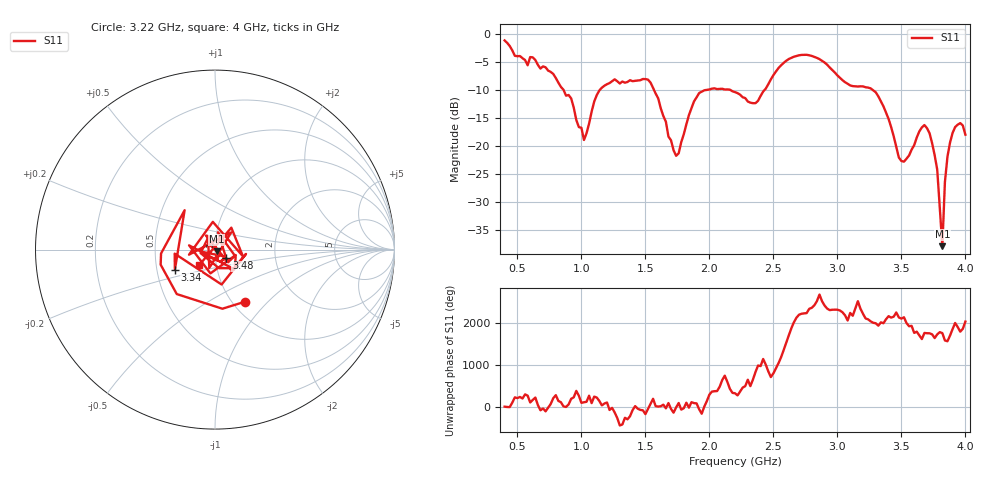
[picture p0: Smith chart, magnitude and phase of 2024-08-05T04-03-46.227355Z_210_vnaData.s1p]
!Created with skrf (http://scikit-rf.org).
# Hz S RI R 50.0
!freq ReS11 ImS11
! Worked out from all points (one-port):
!   181 points, 400 MHz to 4 GHz, reference 50 ohm
!   lowest |S11| = -37.9 dB at 3.82 GHz (marker M1), VSWR 1.03, Z = 50.8 - j0.981 ohm
!   |S11| at or under -10 dB: 860.7 MHz to 1.144 GHz (282.8 MHz wide, 28.2 % of centre); 1.567 GHz to 1.976 GHz (408.8 MHz wide, 23.1 % of centre); 3.277 GHz to end of sweep (the widest 3 of 4)
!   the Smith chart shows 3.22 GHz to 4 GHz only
!   S11 on the Smith chart (normalised r, x): 3.22 GHz: 1.14, -0.74; 3.34 GHz: 0.62, -0.15; 3.48 GHz: 1.13, -0.11; 4 GHz: 0.82, -0.15
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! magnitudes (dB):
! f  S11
! 400 MHz  -1.2
! 860 MHz  -10.0
! 920 MHz  -11.5
! 1.02 GHz  -18.9
! 1.14 GHz  -10.1
! 1.3 GHz  -8.8
! 1.54 GHz  -8.7
! 1.72 GHz  -20.8
! 1.76 GHz  -21.3
! 1.84 GHz  -14.5
! 1.92 GHz  -10.5
! 2.2 GHz  -10.4
! 2.36 GHz  -12.4
! 2.66 GHz  -4.1
! 2.86 GHz  -4.5
! 3.1 GHz  -9.2
! 3.22 GHz  -9.5
! 3.34 GHz  -12.0
! 3.48 GHz  -22.0
! 3.56 GHz  -21.7
! 3.66 GHz  -16.7
! 3.72 GHz  -17.7
! 3.78 GHz  -24.2
! 3.82 GHz  -37.9
! 3.84 GHz  -26.4
! 3.88 GHz  -19.4
! 3.96 GHz  -15.9
! 4 GHz  -18.0
